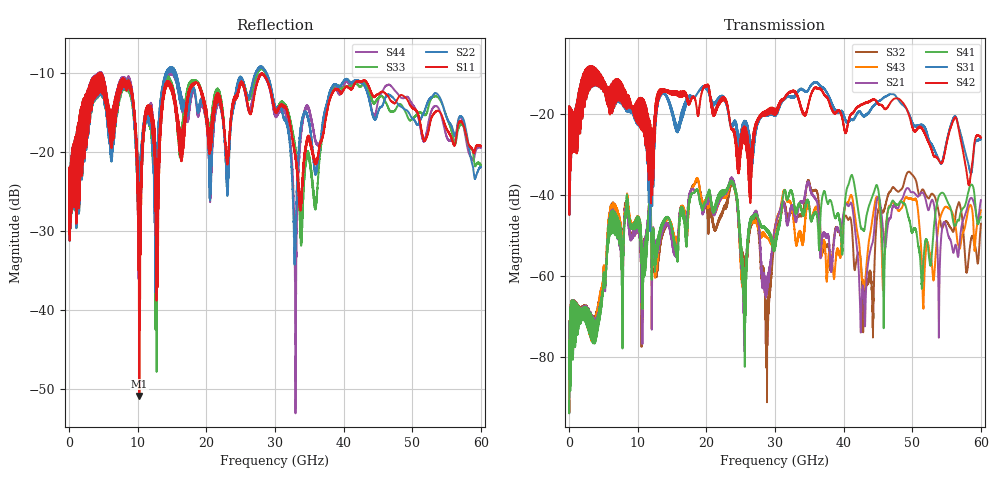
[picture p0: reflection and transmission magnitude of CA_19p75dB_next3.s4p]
!4 port subset of full cascaded channels using these ports:59 37 60 38
# Hz S RI R 50
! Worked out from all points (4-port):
!   6000 points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, 10 MHz to 60 GHz, reference 50 ohm
!   strongest paths, dB at 10 MHz, 15.01 GHz, 30.01 GHz, 45.01 GHz, 60 GHz:
!     S42: -21.9, -14.4, -18.7, -17.3, -25.7
!     S31: -21.9, -18.9, -18.9, -16.8, -26.1
!     S41: -90.8, -48.2, -52.5, -38.3, -45.3
!     S21: -90.8, -51.0, -47.8, -40.4, -41.2
!     S43: -90.7, -47.6, -48.4, -40.9, -43.7
!     S32: -90.8, -49.7, -50.5, -44.0, -47.0
!   lowest |S11| = -50.9 dB at 10.24 GHz (marker M1), VSWR 1.01, Z = 50.3 + j0.0967 ohm
!   |S11| at or under -10 dB: start of sweep to 4.41 GHz; 4.512 GHz to 4.618 GHz (105.8 MHz wide, 2.32 % of centre); 4.72 GHz to end of sweep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
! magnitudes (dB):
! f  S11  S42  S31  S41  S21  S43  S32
! 10 MHz  -24.0  -21.9  -21.9  -90.8  -90.8  -90.7  -90.8
! 10.24 GHz  -50.9  -21.5  -22.1  -48.9  -50.2  -48.9  -50.3
! 23.82 GHz  -13.8  -23.8  -22.8  -37.2  -36.4  -37.3  -37.2
! 28.86 GHz  -11.0  -19.1  -19.3  -48.8  -60.4  -50.5  -70.7
! 34.85 GHz  -18.4  -17.9  -14.1  -41.6  -36.8  -41.7  -36.3
! 42.69 GHz  -11.0  -17.5  -20.0  -48.3  -63.9  -60.6  -62.0
! 60 GHz  -19.3  -25.7  -26.1  -45.3  -41.2  -43.7  -47.0
